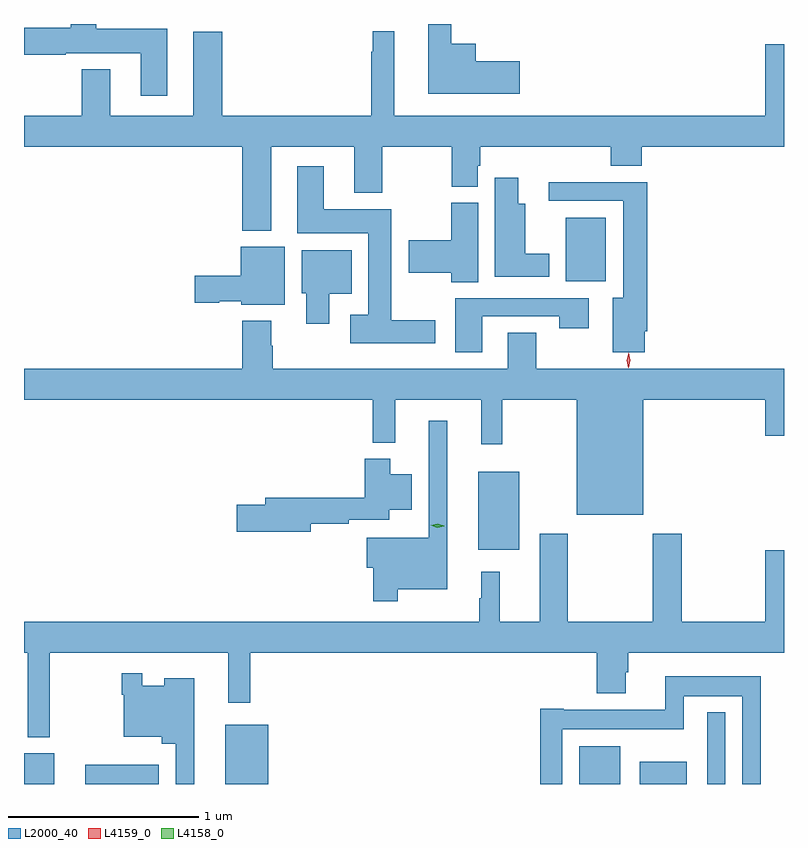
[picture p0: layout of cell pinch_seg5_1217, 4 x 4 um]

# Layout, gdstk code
import gdstk
lib = gdstk.Library(unit=1e-6, precision=1e-09)
def R(c, l, rs):  # rectangles x0, y0, x1, y1
    for r in rs: c.add(gdstk.rectangle(r[:2], r[2:], *l))
def P(c, l, *ps):  # polygons
    for p in ps: c.add(gdstk.Polygon(p, *l))
L2000_40 = (2000, 40)
L4158_0 = (4158, 0)
L4159_0 = (4159, 0)

pinch_seg5_1217 = lib.new_cell('pinch_seg5_1217')
R(pinch_seg5_1217, L2000_40, [(400.868,902.69,401.026,902.851), (401.19,902.69,401.578,902.791), (401.927,902.69,402.154,903.001), (403.79,902.69,404.005,902.89), (404.109,902.69,404.356,902.806), (404.463,902.69,404.559,903.067), (403.259,903.923,403.474,904.333), (403.718,905.336,403.93,905.671)])
P(pinch_seg5_1217, L2000_40, [(401.623,906.664),(401.248,906.664),(401.248,906.69),(401.114,906.69),(401.114,906.671),(400.868,906.671),(400.868,906.529),(401.087,906.529),(401.087,906.536),(401.483,906.536),(401.483,906.312),(401.623,906.312)],
  [(403.477,906.494),(403.246,906.494),(403.246,906.586),(403.117,906.586),(403.117,906.69),(402.995,906.69),(402.995,906.323),(403.477,906.323)],
  [(402.017,905.603),(402.169,905.603),(402.169,906.044),(402.605,906.044),(402.605,905.801),(402.753,905.801),(402.753,906.044),(403.12,906.044),(403.12,905.833),(403.255,905.833),(403.255,905.943),(403.268,905.943),(403.268,906.044),(403.955,906.044),(403.955,905.945),(404.12,905.945),(404.12,906.044),(404.868,906.044),(404.868,906.583),(404.768,906.583),(404.768,906.208),(402.817,906.208),(402.817,906.652),(402.703,906.652),(402.703,906.545),(402.696,906.545),(402.696,906.208),(401.912,906.208),(401.912,906.649),(401.759,906.649),(401.759,906.208),(401.323,906.208),(401.323,906.451),(401.171,906.451),(401.171,906.208),(400.868,906.208),(400.868,906.044),(402.017,906.044)],
  [(403.033,905.131),(402.802,905.131),(402.802,905.716),(402.445,905.716),(402.445,905.941),(402.305,905.941),(402.305,905.588),(402.68,905.588),(402.68,905.161),(402.585,905.161),(402.585,905.009),(403.033,905.009)],
  [(403.633,905.482),(403.507,905.482),(403.507,905.743),(403.468,905.743),(403.468,905.881),(403.346,905.881),(403.346,905.36),(403.633,905.36)],
  [(404.134,905.074),(404.147,905.074),(404.147,905.858),(403.629,905.858),(403.629,905.76),(404.021,905.76),(404.021,905.248),(403.967,905.248),(403.967,904.962),(404.134,904.962)],
  [(403.258,905.748),(403.117,905.748),(403.117,905.552),(402.894,905.552),(402.894,905.381),(403.117,905.381),(403.117,905.332),(403.258,905.332)],
  [(402.241,905.518),(402.008,905.518),(402.008,905.366),(401.766,905.366),(401.766,905.224),(401.895,905.224),(401.895,905.231),(402.012,905.231),(402.012,905.213),(402.241,905.213)],
  [(402.475,905.27),(402.592,905.27),(402.592,905.5),(402.329,905.5),(402.329,905.274),(402.353,905.274),(402.353,905.112),(402.475,905.112)],
  [(403.279,905.151),(403.684,905.151),(403.684,905.088),(403.84,905.088),(403.84,905.247),(403.139,905.247),(403.139,904.962),(403.279,904.962)],
  [(402.177,904.997),(402.169,904.997),(402.169,905.128),(402.017,905.128),(402.017,904.876),(400.868,904.876),(400.868,904.712),(402.703,904.712),(402.703,904.487),(402.821,904.487),(402.821,904.712),(403.274,904.712),(403.274,904.479),(403.384,904.479),(403.384,904.712),(403.778,904.712),(403.778,904.106),(404.128,904.106),(404.128,904.712),(404.768,904.712),(404.768,904.524),(404.868,904.524),(404.868,904.876),(403.563,904.876),(403.563,905.066),(403.415,905.066),(403.415,904.876),(402.177,904.876)],
  [(402.835,903.716),(403.096,903.716),(403.096,904.603),(402.999,904.603),(402.999,903.985),(402.672,903.985),(402.672,903.827),(402.706,903.827),(402.706,903.651),(402.835,903.651)],
  [(402.376,904.06),(402.578,904.06),(402.578,904.08),(402.79,904.08),(402.79,904.133),(402.91,904.133),(402.91,904.321),(402.796,904.321),(402.796,904.402),(402.662,904.402),(402.662,904.196),(402.137,904.196),(402.137,904.16),(401.988,904.16),(401.988,904.018),(402.376,904.018)],
  [(401.003,903.38),(401.942,903.38),(401.942,903.117),(402.059,903.117),(402.059,903.38),(403.883,903.38),(403.883,903.167),(404.035,903.167),(404.035,903.279),(404.048,903.279),(404.048,903.38),(404.868,903.38),(404.868,903.919),(404.768,903.919),(404.768,903.544),(404.331,903.544),(404.331,904.006),(404.176,904.006),(404.176,903.544),(403.731,903.544),(403.731,904.006),(403.583,904.006),(403.583,903.544),(403.373,903.544),(403.373,903.808),(403.274,903.808),(403.274,903.668),(403.263,903.668),(403.263,903.544),(400.868,903.544),(400.868,903.38),(400.889,903.38),(400.889,902.936),(401.003,902.936)],
  [(401.764,903.247),(401.606,903.247),(401.606,903.208),(401.49,903.208),(401.49,903.274),(401.382,903.274),(401.382,903.161),(401.394,903.161),(401.394,902.939),(401.594,902.939),(401.594,902.903),(401.667,902.903),(401.667,902.69),(401.764,902.69)],
  [(403.701,902.978),(404.34,902.978),(404.34,903.152),(404.649,903.152),(404.649,902.69),(404.746,902.69),(404.746,903.256),(404.243,903.256),(404.243,903.082),(403.708,903.082),(403.708,903.085),(403.585,903.085),(403.585,902.69),(403.701,902.69)])
P(pinch_seg5_1217, L4158_0, [(403.044,904.04),(403.009,904.051),(403.009,904.052),(403.009,904.052),(403.045,904.06),(403.08,904.048),(403.08,904.047),(403.08,904.047)])
P(pinch_seg5_1217, L4159_0, [(404.049,904.88),(404.04,904.921),(404.05,904.961),(404.05,904.961),(404.05,904.961),(404.06,904.92),(404.05,904.88),(404.05,904.88)])

lib.write_gds('pinch_seg5_1217.gds')
